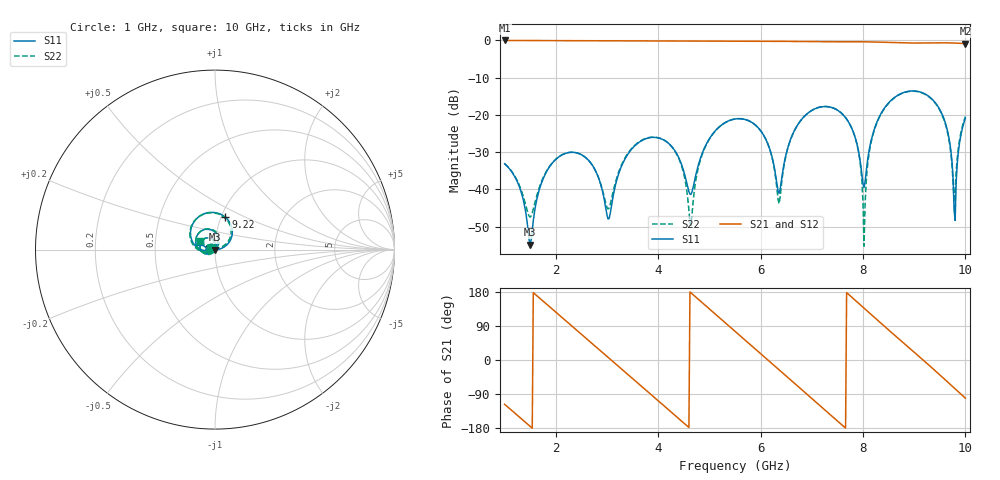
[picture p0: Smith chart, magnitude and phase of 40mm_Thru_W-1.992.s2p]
! Touchstone file exported from HFSS 2018.2.0
!  File:  C:/Users/10024/OneDrive - The University of Nottingham Ningbo China/Year 4/Final Year Project/HFSS project/Patch-1.aedt
!  Generated:  4:47:33 下午  3月 10, 2022
!  Design:  SMA_workbench
!  Project:  Patch-1
!  Setup:  Setup1
!  Solution:  Sweep
! Variables:
!  MW = 1.992mm
!  ThruL = 40mm
!  g = 0.2mm
!  subH = 0.8mm
!  subX = 20mm
!  subY = 50mm
# GHZ S MA R 50.000000
! Modal data exported
! Port[1] = SMA_CONNECTOR1_1:1
! Port[2] = SMA_CONNECTOR2_1:1
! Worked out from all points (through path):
!   451 points, 1 GHz to 10 GHz, reference 50 ohm
!   highest |S21| = -0.04 dB at 1 GHz (marker M1); lowest = -0.9 dB at 10 GHz (marker M2)
!   group delay of S21, straight-line fit = 328 ps
!   lowest |S11| = -54.8 dB at 1.5 GHz (marker M3), VSWR 1.00, Z = 49.8 - j0.0235 ohm
!   |S11| at or under -10 dB: start of sweep to end of sweep
!   |S22| runs from -55.2 to -13.7 dB; largest |S21 - S12| = 7.1e-12
!   S11 on the Smith chart (normalised r, x): 1 GHz: 0.96, +0.02; 9.22 GHz: 1.05, +0.39; 10 GHz: 0.85, +0.07
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1  0.02208 154.2  0.9956 -116.8  0.9956 -116.8  0.02215 157.7
! Gamma ! 0.0151858380091493 30.3716836111682 0.0151858380091086 30.371683611174
! Port Impedance50 0 50 0
1.5  0.001816 -172.5  0.9926 -175.2  0.9926 -175.2  0.004252 -174.1
1.86  0.01929 -129.2  0.9901 142.8  0.9901 142.8  0.01958 -137.2
2.5  0.02921 162.1  0.9865 68.0  0.9865 68.0  0.02916 159.6
3.02  0.004009 176.7  0.9843 7.2  0.9843 7.2  0.00546 179.3
3.18  0.01257 -120.2  0.9835 -11.5  0.9835 -11.5  0.01354 -130.1
4  0.04909 163.7  0.9789 -107.6  0.9789 -107.6  0.04935 156.4
4.4  0.02677 128.2  0.978 -154.5  0.978 -154.5  0.02613 115.0
4.64  0.008589 -179.9  0.9772 177.2  0.9772 177.2  0.003268 -175.7
4.92  0.03811 -141.9  0.9754 144.2  0.9754 144.2  0.0372 -136.4
5.5  0.088 160.4  0.9704 76.0  0.9704 76.0  0.08796 160.2
6.06  0.05327 101.8  0.97 9.9  0.97 9.9  0.05316 99.0
6.36  0.008867 149.8  0.969 -25.7  0.969 -25.7  0.006398 149.0
7  0.1146 159.5  0.9583 -101.6  0.9583 -101.6  0.1148 158.9
7.72  0.07953 80.7  0.9574 173.0  0.9574 173.0  0.07983 75.4
8.02  0.01056 131.1  0.9553 136.9  0.9553 136.9  0.00173 117.1
8.18  0.05166 -173.6  0.9506 117.6  0.9506 117.6  0.04961 -163.3
8.5  0.1446 155.8  0.9353 79.3  0.9353 79.3  0.1432 159.4
9.22  0.1892 72.2  0.9213 -5.5  0.9213 -5.5  0.1873 74.4
9.62  0.07324 22.4  0.9253 -54.0  0.9253 -54.0  0.07054 27.9
9.78  0.005132 -4.4  0.9196 -73.7  0.9196 -73.7  0.006743 78.2
10  0.09051 153.6  0.9021 -100.7  0.9021 -100.7  0.09491 148.8
